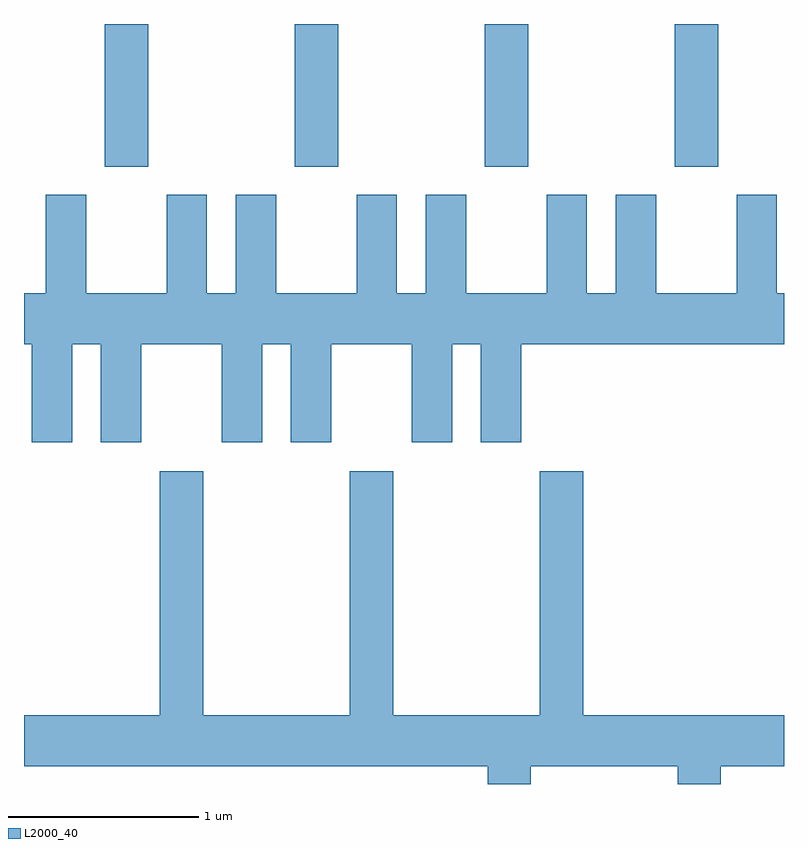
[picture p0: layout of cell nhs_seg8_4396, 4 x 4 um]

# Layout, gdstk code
import gdstk
lib = gdstk.Library(unit=1e-6, precision=1e-09)
def R(c, l, rs):  # rectangles x0, y0, x1, y1
    for r in rs: c.add(gdstk.rectangle(r[:2], r[2:], *l))
def A(c, l, x, y, w, h, nx, ny, dx, dy):  # array of equal rectangles
    R(c, l, [(x+i*dx, y+j*dy, x+i*dx+w, y+j*dy+h) for i in range(nx) for j in range(ny)])
def P(c, l, *ps):  # polygons
    for p in ps: c.add(gdstk.Polygon(p, *l))
L2000_40 = (2000, 40)

nhs_seg8_4396 = lib.new_cell('nhs_seg8_4396')
A(nhs_seg8_4396, L2000_40, 318.036, 1819.591, 0.228, 0.751, 4, 1, 1, 0)
P(nhs_seg8_4396, L2000_40, [(319.939,1819.444),(319.726,1819.444),(319.726,1818.924),(319.574,1818.924),(319.574,1819.444),(319.361,1819.444),(319.361,1818.924),(318.939,1818.924),(318.939,1819.444),(318.726,1819.444),(318.726,1818.924),(318.574,1818.924),(318.574,1819.444),(318.361,1819.444),(318.361,1818.924),(317.939,1818.924),(317.939,1819.444),(317.726,1819.444),(317.726,1818.924),(317.611,1818.924),(317.611,1818.656),(317.651,1818.656),(317.651,1818.141),(317.864,1818.141),(317.864,1818.656),(318.016,1818.656),(318.016,1818.141),(318.229,1818.141),(318.229,1818.656),(318.651,1818.656),(318.651,1818.141),(318.864,1818.141),(318.864,1818.656),(319.016,1818.656),(319.016,1818.141),(319.229,1818.141),(319.229,1818.656),(319.651,1818.656),(319.651,1818.141),(319.864,1818.141),(319.864,1818.656),(320.016,1818.656),(320.016,1818.141),(320.229,1818.141),(320.229,1818.656),(321.611,1818.656),(321.611,1818.924),(321.574,1818.924),(321.574,1819.444),(321.361,1819.444),(321.361,1818.924),(320.939,1818.924),(320.939,1819.444),(320.726,1819.444),(320.726,1818.924),(320.574,1818.924),(320.574,1819.444),(320.361,1819.444),(320.361,1818.924),(319.939,1818.924)],
  [(320.279,1816.436),(321.051,1816.436),(321.051,1816.342),(321.279,1816.342),(321.279,1816.436),(321.611,1816.436),(321.611,1816.704),(320.554,1816.704),(320.554,1817.989),(320.326,1817.989),(320.326,1816.704),(319.554,1816.704),(319.554,1817.989),(319.326,1817.989),(319.326,1816.704),(318.554,1816.704),(318.554,1817.989),(318.326,1817.989),(318.326,1816.704),(317.611,1816.704),(317.611,1816.436),(320.051,1816.436),(320.051,1816.342),(320.279,1816.342)])

lib.write_gds('nhs_seg8_4396.gds')
